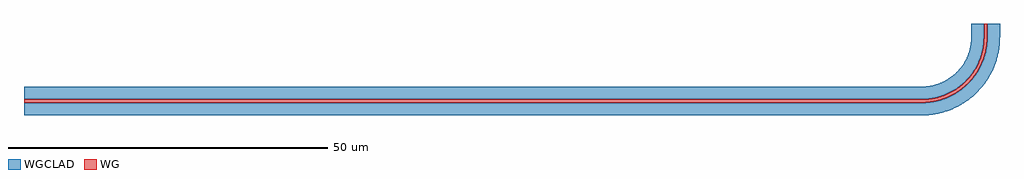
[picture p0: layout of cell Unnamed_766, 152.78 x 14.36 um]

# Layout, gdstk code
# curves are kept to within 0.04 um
from math import pi, radians
import gdstk
lib = gdstk.Library(unit=1e-6, precision=1e-09)
def R(c, l, rs):  # rectangles x0, y0, x1, y1
    for r in rs: c.add(gdstk.rectangle(r[:2], r[2:], *l))
def P(c, l, *ps):  # polygons
    for p in ps: c.add(gdstk.Polygon(p, *l))
WG = (1, 0)
WGCLAD = (111, 0)

straight_w500_l140532_lw = lib.new_cell('straight_W500_L140532_LWG_EWGSTD')
R(straight_w500_l140532_lw, WG, [(0,-0.25,140.532,0.25)])
R(straight_w500_l140532_lw, WGCLAD, [(0,-2.25,140.532,-0.25), (0,0.25,140.532,2.25)])

straight_w500_l2112_lwg_ = lib.new_cell('straight_W500_L2112_LWG_EWGSTD')
R(straight_w500_l2112_lwg_, WG, [(0,-0.25,2.112,0.25)])
R(straight_w500_l2112_lwg_, WGCLAD, [(0,-2.25,2.112,-0.25), (0,0.25,2.112,2.25)])

bend_circular_w0p5_r10_l = lib.new_cell('bend_circular_W0p5_R10_LWG_EWGSTD_A90_AS1')
P(bend_circular_w0p5_r10_l, WG, [(0,-0.25),(0,0.25),(1.031,0.305),(2.05,0.468),(3.209,0.793),(4.164,1.184),(5.506,1.953),(6.833,3.045),(7.948,4.353),(8.741,5.681),(9.149,6.629),(9.494,7.783),(9.676,8.798),(9.75,10),(10.25,10),(10.193,8.917),(10.057,8.023),(9.844,7.144),(9.487,6.119),(9.024,5.138),(8.56,4.362),(8.03,3.629),(7.312,2.816),(6.65,2.2),(5.788,1.541),(4.862,0.976),(4.048,0.583),(3.202,0.263),(2.155,-0.021),(1.083,-0.193)])
P(bend_circular_w0p5_r10_l, WGCLAD, [(0,-2.25),(0,-0.25),(1.083,-0.193),(1.977,-0.057),(2.856,0.156),(3.881,0.513),(4.862,0.976),(5.638,1.44),(6.371,1.97),(7.184,2.688),(7.8,3.35),(8.459,4.212),(9.024,5.138),(9.417,5.952),(9.737,6.798),(10.021,7.845),(10.193,8.917),(10.25,10),(12.25,10),(12.202,8.92),(12.02,7.637),(11.703,6.379),(11.338,5.362),(10.885,4.381),(10.23,3.262),(9.597,2.386),(8.738,1.415),(7.948,0.678),(6.918,-0.11),(5.81,-0.784),(4.638,-1.338),(3.621,-1.703),(2.363,-2.02),(1.08,-2.202)],
  [(0,0.25),(0,2.25),(1.361,2.37),(2.55,2.682),(3.796,3.243),(4.817,3.929),(5.432,4.472),(6.071,5.183),(6.619,5.968),(7.008,6.69),(7.318,7.45),(7.547,8.237),(7.707,9.181),(7.75,10),(9.75,10),(9.712,9.141),(9.567,8.119),(9.364,7.283),(9.024,6.309),(8.664,5.528),(8.143,4.637),(7.53,3.806),(6.955,3.167),(6.326,2.58),(5.506,1.953),(4.775,1.499),(3.85,1.042),(2.882,0.686),(1.881,0.433),(0.859,0.288)])

unnamed_766 = lib.new_cell('Unnamed_766')
unnamed_766.add(gdstk.Reference(straight_w500_l140532_lw, (0,0)))
unnamed_766.add(gdstk.Reference(straight_w500_l2112_lwg_, (150.532,10), rotation=pi/2, x_reflection=True))
unnamed_766.add(gdstk.Reference(bend_circular_w0p5_r10_l, (150.532,10), rotation=3*pi/2, x_reflection=True))

lib.write_gds('Unnamed_766.gds')
